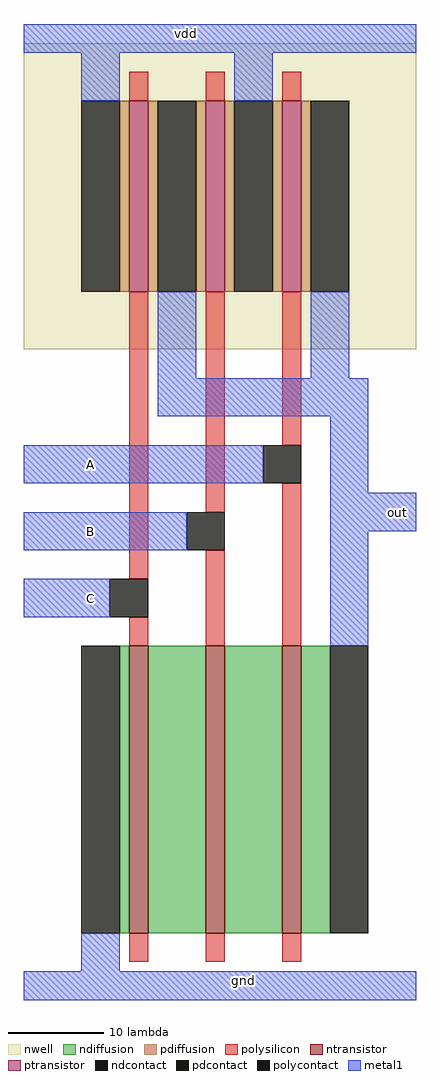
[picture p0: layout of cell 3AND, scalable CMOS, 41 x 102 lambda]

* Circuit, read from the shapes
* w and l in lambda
.subckt 3AND A B C gnd out vdd
M1 n1 C gnd VSUBS nfet w=30 l=2
M2 n2 B n1 VSUBS nfet w=30 l=2
M3 out A n2 VSUBS nfet w=30 l=2
M4 out C vdd n3 pfet w=20 l=2
M5 vdd B out n3 pfet w=20 l=2
M6 out A vdd n3 pfet w=20 l=2
.ends

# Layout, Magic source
magic
tech scmos
<< nwell >>
rect 0 0 41 32
<< ntransistor >>
rect 11 -61 13 -31
rect 19 -61 21 -31
rect 27 -61 29 -31
<< ptransistor >>
rect 11 6 13 26
rect 19 6 21 26
rect 27 6 29 26
<< ndiffusion >>
rect 10 -61 11 -31
rect 13 -61 19 -31
rect 21 -61 27 -31
rect 29 -61 32 -31
<< pdiffusion >>
rect 10 6 11 26
rect 13 6 14 26
rect 18 6 19 26
rect 21 6 22 26
rect 26 6 27 26
rect 29 6 30 26
<< ndcontact >>
rect 6 -61 10 -31
rect 32 -61 36 -31
<< pdcontact >>
rect 6 6 10 26
rect 14 6 18 26
rect 22 6 26 26
rect 30 6 34 26
<< polysilicon >>
rect 11 26 13 29
rect 19 26 21 29
rect 27 26 29 29
rect 11 -24 13 6
rect 19 -17 21 6
rect 27 -10 29 6
rect 11 -31 13 -28
rect 19 -31 21 -21
rect 27 -31 29 -14
rect 11 -64 13 -61
rect 19 -64 21 -61
rect 27 -64 29 -61
<< polycontact >>
rect 25 -14 29 -10
rect 17 -21 21 -17
rect 9 -28 13 -24
<< metal1 >>
rect 0 31 41 34
rect 6 26 10 31
rect 22 26 26 31
rect 14 -3 18 6
rect 30 -3 34 6
rect 14 -7 36 -3
rect 0 -14 25 -10
rect 32 -15 36 -7
rect 0 -21 17 -17
rect 32 -19 41 -15
rect 0 -28 9 -24
rect 32 -31 36 -19
rect 6 -65 10 -61
rect 0 -68 41 -65
<< labels >>
rlabel metal1 7 -12 7 -12 1 A
rlabel metal1 7 -19 7 -19 1 B
rlabel metal1 7 -26 7 -26 1 C
rlabel metal1 39 -17 39 -17 7 out
rlabel metal1 17 33 17 33 5 vdd
rlabel metal1 23 -66 23 -66 1 gnd
<< end >>
